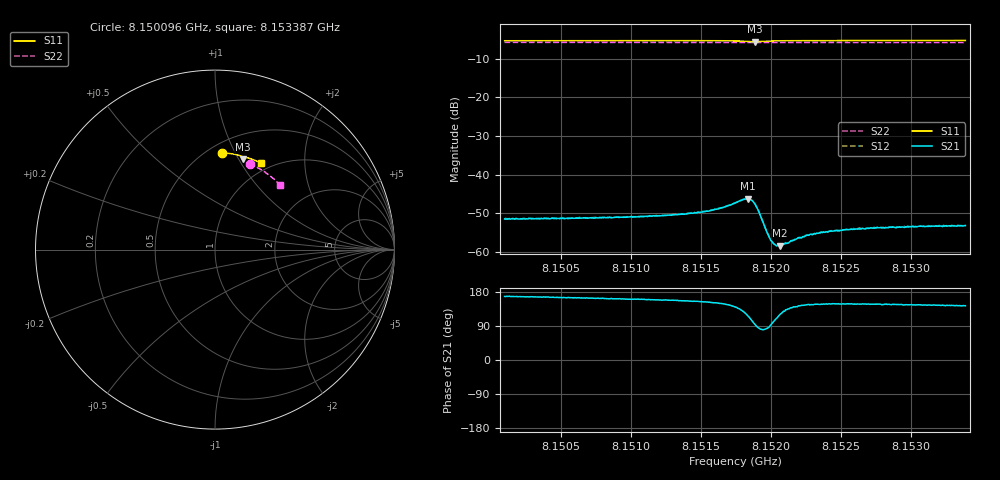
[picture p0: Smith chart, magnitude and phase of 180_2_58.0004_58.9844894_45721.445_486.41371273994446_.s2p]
#  HZ  S  RI  R  50.00
! Rohde & Schwarz Vector Network Analyzer
! Rohde-Schwarz,ZNB20-2Port,1311601062101988,3.16
! Created: UTC 3/21/2024, 12:58:18 AM
! freq[Hz]  re:S11  im:S11  re:S21  im:S21  re:S12  im:S12  re:S22  im:S22
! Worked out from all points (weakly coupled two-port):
!   401 points, 8.150096 GHz to 8.153387 GHz, reference 50 ohm
!   highest |S21| = -46.29 dB at 8.151832 GHz (marker M1); lowest = -58.4 dB at 8.152063 GHz (marker M2)
!   lowest |S11| = -5.6 dB at 8.151882 GHz (marker M3), VSWR 3.22, Z = 37.3 + j51.9 ohm
!   |S11| at or under -10 dB: nowhere
!   |S22| runs from -5.8 to -5.8 dB; largest |S21 - S12| = 0.00014
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8.1500959e9  0.0379 0.5393  -0.0026 0.000564  -0.00263 0.000626  0.1924 0.4785
8.1506473e9  0.0766 0.5361  -0.00262 0.00075  -0.00264 0.000811  0.2247 0.4634
8.1511986e9  0.1154 0.5299  -0.00272 0.00107  -0.00272 0.00111  0.2559 0.4463
8.1513796e9  0.1284 0.5268  -0.0028 0.00123  -0.00283 0.00131  0.2657 0.4401
8.1515524e9  0.1414 0.5232  -0.00298 0.00155  -0.003 0.0016  0.2751 0.4339
8.1516512e9  0.1494 0.52  -0.00318 0.00193  -0.00315 0.00201  0.2804 0.4305
8.1517417e9  0.1567 0.5149  -0.00329 0.00275  -0.00325 0.00277  0.2852 0.427
8.1517993e9  0.1598 0.509  -0.00295 0.00372  -0.00289 0.00378  0.2881 0.4246
8.1518322e9  0.1592 0.5049  -0.00219 0.00432  -0.00218 0.00439  0.2897 0.4235
8.1518569e9  0.1567 0.5027  -0.00131 0.00452  -0.00125 0.00452  0.2908 0.4225
8.1518816e9  0.1536 0.5027  -0.000357 0.0042  -0.000301 0.00426  0.2918 0.4216
8.1519063e9  0.1515 0.5054  0.000275 0.00349  0.000314 0.00348  0.2932 0.4208
8.1519721e9  0.1545 0.5123  0.000193 0.00173  0.000223 0.00178  0.2965 0.4186
8.1519968e9  0.157 0.5135  -6.02e-05 0.00141  -3.94e-05 0.00144  0.2979 0.4178
8.1520297e9  0.1605 0.5144  -0.000355 0.00117  -0.000336 0.00116  0.2996 0.4167
8.1520626e9  0.1637 0.5148  -0.000594 0.00104  -0.000568 0.0011  0.3014 0.4152
8.1521202e9  0.1689 0.5145  -0.000905 0.000917  -0.000906 0.000942  0.3044 0.4133
8.1521943e9  0.175 0.5134  -0.00122 0.000918  -0.00117 0.000953  0.3082 0.4101
8.152293e9  0.1826 0.5116  -0.00138 0.000926  -0.0014 0.000945  0.3131 0.4062
8.1525399e9  0.2002 0.5058  -0.00165 0.00102  -0.00164 0.00105  0.3254 0.3963
8.1528444e9  0.2204 0.4981  -0.00175 0.00114  -0.0017 0.00118  0.3398 0.3833
8.1533875e9  0.255 0.4822  -0.00175 0.00131  -0.00171 0.00132  0.3644 0.3588
